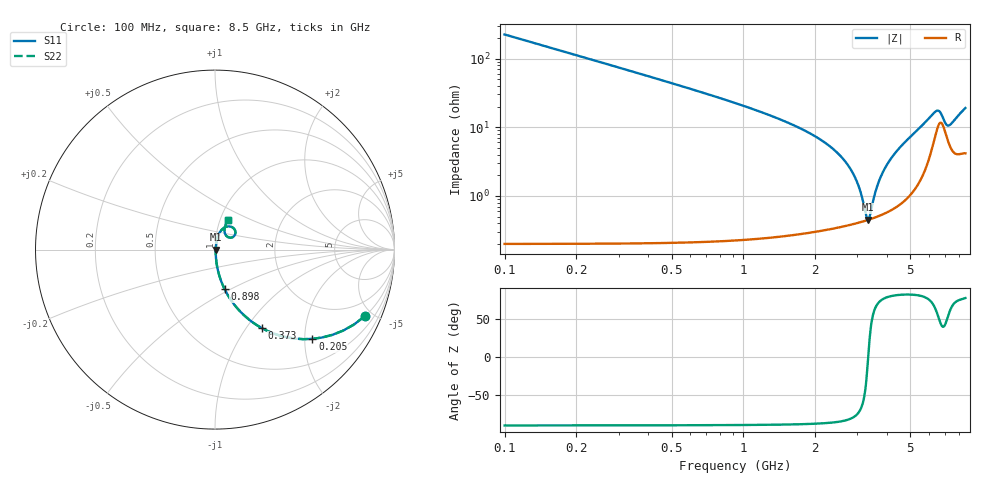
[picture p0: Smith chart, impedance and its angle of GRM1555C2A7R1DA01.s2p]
!Murata Part Number: GRM1555C2A7R1DA01
!These Parameters are Measured in Series Mode Connection
!Data Generated on Mar 30, 2021
!  o--ll--o
!Port1  Port2
!  o------o
!Operation Temp=25[degC], DC Bias Voltage=0[V]
!Freq. Start=100[MHz] Stop=9[GHz] 401[Steps]
# Hz S RI R 50
!Freq.(Hz) S11(Real) S11(Imag) S21(Real) S21(Imag) S12(Real) S12(Imag) S22(Real) S22(Imag)
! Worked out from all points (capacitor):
!   401 points, 100 MHz to 8.5 GHz, reference 50 ohm
!   read as one part in series: C = 7.1 pF near 142 MHz
!   lowest |Z| = 450 mohm at 3.334 GHz (marker M1)
!   series resonance near 3.33 GHz, so ESL is about 320 pH
!   S11 on the Smith chart (normalised r, x): 100 MHz: 1.00, -4.48; 205 MHz: 1.00, -2.18; 373 MHz: 1.00, -1.19; 898 MHz: 1.00, -0.47; 8.5 GHz: 1.08, +0.37
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1e8  0.8336 -0.372  0.1664 0.372  0.1664 0.372  0.8336 -0.372
2.05e8  0.5427 -0.4972  0.4573 0.4972  0.4573 0.4972  0.5427 -0.4972
3.73e8  0.2615 -0.4377  0.7385 0.4377  0.7385 0.4377  0.2615 -0.4377
5.83e8  0.1238 -0.3265  0.8762 0.3265  0.8762 0.3265  0.1238 -0.3265
8.98e8  0.0532 -0.2197  0.9468 0.2197  0.9468 0.2197  0.0532 -0.2197
1.507e9  0.0167 -0.1176  0.9833 0.1176  0.9833 0.1176  0.0167 -0.1176
2.41e9  0.00546 -0.0456  0.9945 0.0456  0.9945 0.0456  0.00546 -0.0456
2.704e9  0.00454 -0.0294  0.9955 0.0294  0.9955 0.0294  0.00454 -0.0294
2.914e9  0.00427 -0.019  0.9957 0.019  0.9957 0.019  0.00427 -0.019
3.082e9  0.00425 -0.0111  0.9958 0.0111  0.9958 0.0111  0.00425 -0.0111
3.271e9  0.00439 -0.00257  0.9956 0.00257  0.9956 0.00257  0.00439 -0.00257
3.334e9  0.00447 0.000183  0.9955 -0.000183  0.9955 -0.000183  0.00447 0.000183
3.397e9  0.00458 0.00291  0.9954 -0.00291  0.9954 -0.00291  0.00458 0.00291
3.586e9  0.005 0.0109  0.995 -0.0109  0.995 -0.0109  0.005 0.0109
3.733e9  0.00545 0.017  0.9946 -0.017  0.9946 -0.017  0.00545 0.017
3.985e9  0.00646 0.0274  0.9935 -0.0274  0.9935 -0.0274  0.00646 0.0274
4.3e9  0.00823 0.0402  0.9918 -0.0402  0.9918 -0.0402  0.00823 0.0402
4.846e9  0.0132 0.0633  0.9868 -0.0633  0.9868 -0.0633  0.0132 0.0633
5.707e9  0.033 0.1055  0.967 -0.1055  0.967 -0.1055  0.033 0.1055
6.484e9  0.1034 0.1193  0.8966 -0.1193  0.8966 -0.1193  0.1034 0.1193
7.114e9  0.0711 0.0703  0.9289 -0.0703  0.9289 -0.0703  0.0711 0.0703
8.5e9  0.0697 0.1661  0.9303 -0.1661  0.9303 -0.1661  0.0697 0.1661
